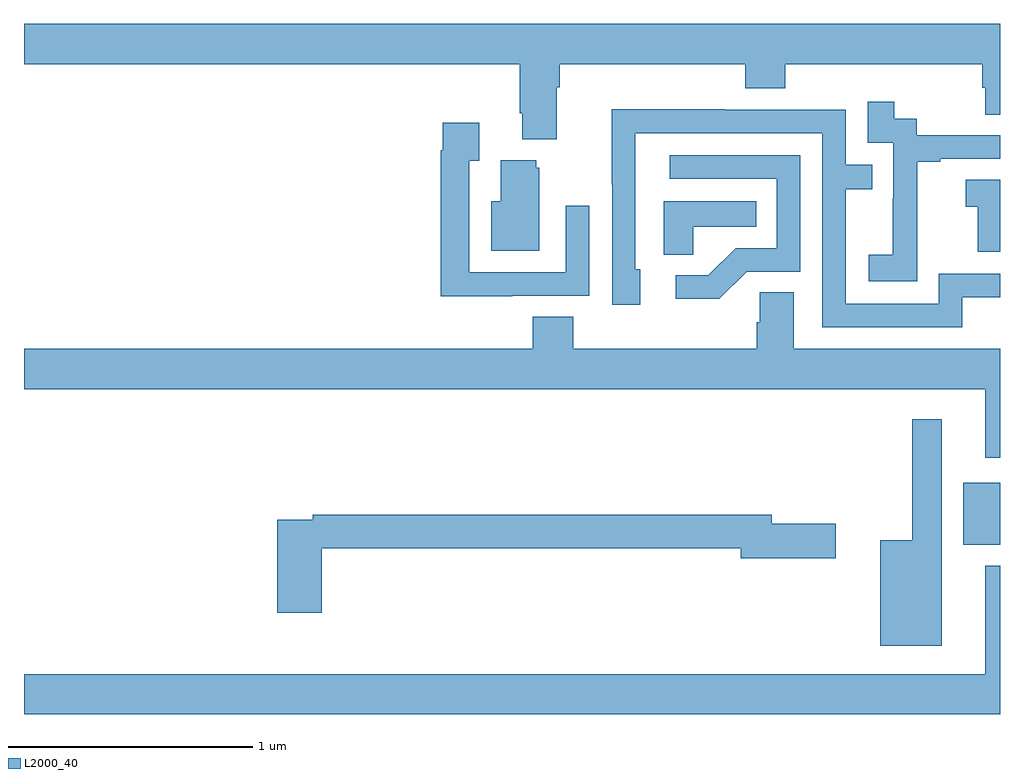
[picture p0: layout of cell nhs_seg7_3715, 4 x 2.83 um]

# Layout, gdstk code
import gdstk
lib = gdstk.Library(unit=1e-6, precision=1e-09)
def R(c, l, rs):  # rectangles x0, y0, x1, y1
    for r in rs: c.add(gdstk.rectangle(r[:2], r[2:], *l))
def P(c, l, *ps):  # polygons
    for p in ps: c.add(gdstk.Polygon(p, *l))
L2000_40 = (2000, 40)

nhs_seg7_3715 = lib.new_cell('nhs_seg7_3715')
R(nhs_seg7_3715, L2000_40, [(350.849,1037.273,351,1037.527)])
P(nhs_seg7_3715, L2000_40, [(349.183,1039.148),(349.196,1039.148),(349.196,1039.244),(349.955,1039.244),(349.955,1039.145),(350.12,1039.145),(350.12,1039.244),(350.927,1039.244),(350.927,1039.146),(350.939,1039.146),(350.939,1039.036),(351,1039.036),(351,1039.408),(347,1039.408),(347,1039.244),(349.031,1039.244),(349.031,1039.042),(349.043,1039.042),(349.043,1038.935),(349.183,1038.935)],
  [(350.661,1038.559),(350.66,1038.559),(350.66,1038.843),(350.755,1038.843),(350.755,1038.855),(351,1038.855),(351,1038.951),(350.658,1038.951),(350.658,1039.02),(350.566,1039.02),(350.566,1039.09),(350.457,1039.09),(350.457,1038.921),(350.562,1038.921),(350.562,1038.692),(350.561,1038.692),(350.561,1038.463),(350.463,1038.463),(350.463,1038.353),(350.661,1038.353)],
  [(350.845,1038.288),(351,1038.288),(351,1038.384),(350.748,1038.384),(350.748,1038.261),(350.367,1038.261),(350.367,1038.73),(350.477,1038.73),(350.477,1038.831),(350.367,1038.831),(350.367,1039.056),(349.871,1039.056),(349.871,1039.058),(349.408,1039.058),(349.408,1038.751),(349.41,1038.751),(349.41,1038.257),(349.525,1038.257),(349.525,1038.402),(349.506,1038.402),(349.506,1038.96),(350.271,1038.96),(350.271,1038.165),(350.845,1038.165)],
  [(349.001,1038.294),(349.317,1038.294),(349.317,1038.664),(349.221,1038.664),(349.221,1038.39),(348.825,1038.39),(348.825,1038.847),(348.865,1038.847),(348.865,1039.003),(348.717,1039.003),(348.717,1038.89),(348.709,1038.89),(348.709,1038.293),(349.001,1038.293)],
  [(349.962,1038.393),(350.181,1038.393),(350.181,1038.87),(349.647,1038.87),(349.647,1038.774),(350.085,1038.774),(350.085,1038.489),(349.916,1038.489),(349.805,1038.378),(349.671,1038.378),(349.671,1038.281),(349.849,1038.281)],
  [(349.111,1038.819),(349.1,1038.819),(349.1,1038.85),(348.953,1038.85),(348.953,1038.682),(348.914,1038.682),(348.914,1038.479),(349.111,1038.479)],
  [(351,1038.769),(350.859,1038.769),(350.859,1038.659),(350.908,1038.659),(350.908,1038.474),(351,1038.474)],
  [(349.743,1038.578),(350,1038.578),(350,1038.682),(349.622,1038.682),(349.622,1038.463),(349.743,1038.463)],
  [(351,1038.076),(350.155,1038.076),(350.155,1038.308),(350.016,1038.308),(350.016,1038.185),(350.003,1038.185),(350.003,1038.076),(349.25,1038.076),(349.25,1038.209),(349.085,1038.209),(349.085,1038.076),(347,1038.076),(347,1037.912),(350.939,1037.912),(350.939,1037.631),(351,1037.631)],
  [(350.761,1037.788),(350.64,1037.788),(350.64,1037.293),(350.51,1037.293),(350.51,1036.859),(350.761,1036.859)],
  [(348.221,1037.26),(349.937,1037.26),(349.937,1037.218),(350.326,1037.218),(350.326,1037.36),(350.065,1037.36),(350.065,1037.396),(348.184,1037.396),(348.184,1037.376),(348.038,1037.376),(348.038,1036.995),(348.221,1036.995)],
  [(351,1037.188),(350.939,1037.188),(350.939,1036.744),(347,1036.744),(347,1036.58),(351,1036.58)])

lib.write_gds('nhs_seg7_3715.gds')
